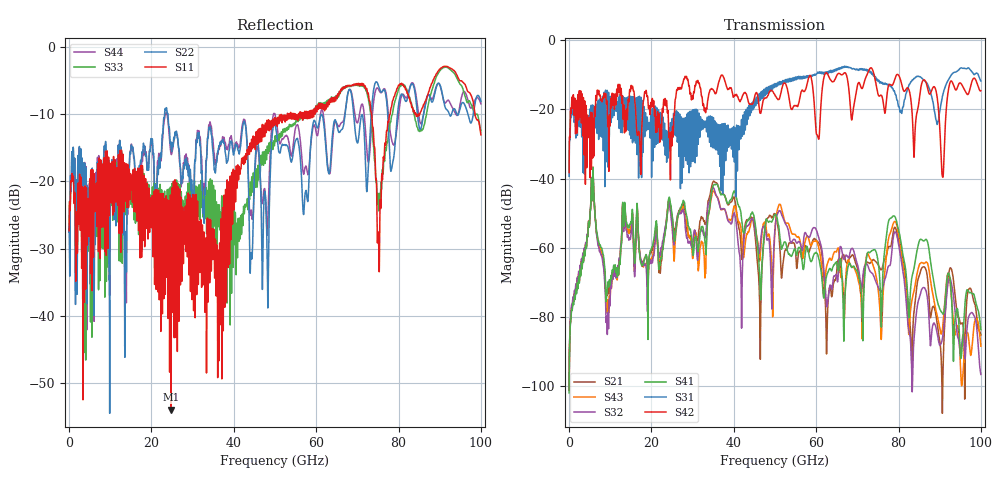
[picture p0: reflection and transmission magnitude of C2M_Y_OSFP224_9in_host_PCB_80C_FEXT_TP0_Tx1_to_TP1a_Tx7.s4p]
# GHz S RI R 45
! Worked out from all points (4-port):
!   4000 points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, 25 MHz to 100 GHz, reference 45 ohm
!   strongest paths, dB at 25 MHz, 25.02 GHz, 50.02 GHz, 75.03 GHz, 100 GHz:
!     S42: -38.3, -28.8, -16.0, -15.6, -14.6
!     S31: -39.4, -22.7, -12.5, -11.9, -11.8
!     S41: -102.0, -50.4, -50.5, -63.8, -83.7
!     S32: -100.4, -53.6, -54.5, -71.3, -96.7
!     S43: -101.2, -53.2, -54.8, -71.8, -88.5
!     S21: -101.3, -50.7, -50.3, -64.8, -85.2
!   lowest |S11| = -53.9 dB at 24.8 GHz (marker M1), VSWR 1.00, Z = 44.9 - j0.166 ohm
!   |S11| at or under -10 dB: start of sweep to 53 GHz; 73.48 GHz to 77.98 GHz (4.5 GHz wide, 5.94 % of centre); 98.57 GHz to end of sweep (the widest 3 of 22)
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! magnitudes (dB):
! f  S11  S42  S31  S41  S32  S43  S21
! 25 MHz  -27.3  -38.3  -39.4  -102.0  -100.4  -101.2  -101.3
! 5.675 GHz  -20.2  -24.2  -19.8  -45.4  -45.3  -45.4  -45.4
! 9.425 GHz  -30.0  -24.9  -36.6  -70.1  -78.9  -75.4  -71.4
! 13.3 GHz  -24.5  -18.6  -25.0  -53.7  -54.8  -54.3  -54.1
! 24.8 GHz  -53.9  -26.7  -29.7  -48.4  -51.1  -50.4  -49.0
! 78.85 GHz  -7.5  -12.1  -14.6  -50.8  -56.3  -52.7  -54.6
! 100 GHz  -13.1  -14.6  -11.8  -83.7  -96.7  -88.5  -85.2
